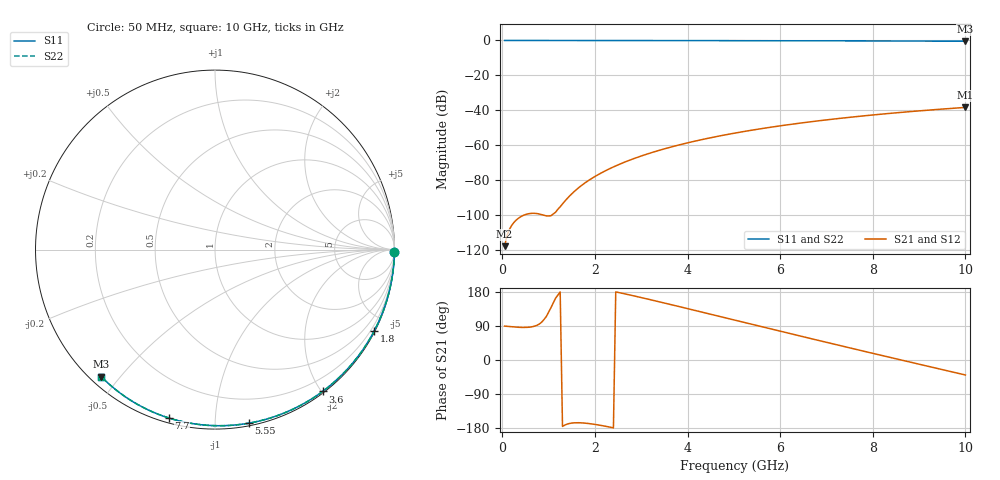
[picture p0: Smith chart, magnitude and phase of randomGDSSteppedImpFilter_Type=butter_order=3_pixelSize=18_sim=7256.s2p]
! freq	dB(S11)	phase(S11)	dB(S12)	phase(S12)
!  dB(S21)	phase(S21)	dB(S22)	phase(S22)
!S-par simulation data
#  GHz  S  DB  R 50
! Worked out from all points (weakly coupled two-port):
!   200 points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, 50 MHz to 10 GHz, reference 50 ohm
!   highest |S21| = -38.43 dB at 10 GHz (marker M1); lowest = -118.1 dB at 50 MHz (marker M2)
!   lowest |S11| = -0.4 dB at 10 GHz (marker M3), VSWR 38.91, Z = 1.54 - j22.3 ohm
!   |S11| at or under -10 dB: nowhere
!   |S22| runs from -0.4 to 0.0 dB; largest |S21 - S12| = 0
!   S11 on the Smith chart (normalised r, x): 50 MHz: open; 1.8 GHz: 0.04, -4.16; 3.6 GHz: 0.02, -2.01; 5.55 GHz: 0.02, -1.22; 7.7 GHz: 0.02, -0.76; 10 GHz: 0.03, -0.45
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0.05  -0.00 -0.8  -118.08 89.4  -118.08 89.4  -0.00 -0.8
0.9  -0.02 -13.6  -100.37 106.7  -100.37 106.7  -0.02 -13.6
1.75  -0.03 -26.3  -82.46 -166.2  -82.46 -166.2  -0.03 -26.3
1.8  -0.03 -27.0  -81.50 -166.7  -81.50 -166.7  -0.03 -27.0
1.85  -0.04 -27.7  -80.60 -167.4  -80.60 -167.4  -0.04 -27.7
1.9  -0.04 -28.5  -79.73 -168.2  -79.73 -168.2  -0.04 -28.5
2.05  -0.04 -30.7  -77.32 -170.9  -77.32 -170.9  -0.04 -30.7
2.25  -0.04 -33.6  -74.48 -175.3  -74.48 -175.3  -0.04 -33.6
2.45  -0.05 -36.5  -71.99 179.7  -71.99 179.7  -0.05 -36.5
2.65  -0.05 -39.4  -69.75 174.5  -69.75 174.5  -0.05 -39.4
3  -0.06 -44.4  -66.32 164.8  -66.32 164.8  -0.06 -44.4
3.4  -0.07 -50.0  -62.97 153.3  -62.97 153.3  -0.07 -50.0
3.6  -0.07 -52.8  -61.48 147.4  -61.48 147.4  -0.07 -52.8
4.3  -0.09 -62.4  -56.96 126.7  -56.96 126.7  -0.09 -62.4
5.05  -0.11 -72.4  -53.03 104.3  -53.03 104.3  -0.11 -72.4
5.55  -0.13 -78.9  -50.80 89.4  -50.80 89.4  -0.13 -78.9
6.1  -0.15 -85.9  -48.63 73.1  -48.63 73.1  -0.15 -85.9
6.7  -0.18 -93.3  -46.54 55.4  -46.54 55.4  -0.18 -93.3
7.7  -0.24 -105.4  -43.56 26.2  -43.56 26.2  -0.24 -105.4
8.35  -0.29 -113.0  -41.90 7.5  -41.90 7.5  -0.29 -113.0
9.15  -0.36 -122.2  -40.10 -15.4  -40.10 -15.4  -0.36 -122.2
10  -0.45 -131.9  -38.43 -39.5  -38.43 -39.5  -0.45 -131.9
